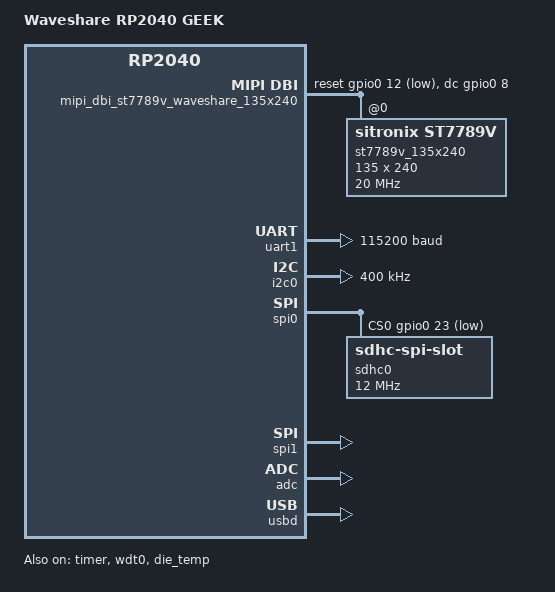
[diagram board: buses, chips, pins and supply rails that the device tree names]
/*
 * Copyright (c) 2021 Yonatan Schachter
 * Copyright (c) 2022 Peter Johanson
 * Copyright (c) 2025 Jonas Berg
 *
 * SPDX-License-Identifier: Apache-2.0
 */

/dts-v1/;

#include <raspberrypi/rpi_pico/rp2040.dtsi>
#include <zephyr/dt-bindings/pinctrl/rpi-pico-rp2040-pinctrl.h>
#include <zephyr/dt-bindings/input/input-event-codes.h>
#include <zephyr/dt-bindings/led/led.h>
#include <zephyr/dt-bindings/mipi_dbi/mipi_dbi.h>
#include "rp2040_geek-pincontrol.dtsi"

/ {
	compatible = "waveshare,rp2040-geek";
	model = "Waveshare RP2040 GEEK";

	chosen {
		zephyr,sram = &sram0;
		zephyr,flash = &flash0;
		zephyr,flash-controller = &ssi;
		zephyr,code-partition = &code_partition;
		zephyr,display = &st7789v_135x240;
		uart,passthrough = &uart1;
	};

	aliases {
		watchdog0 = &wdt0;
	};

	mipi_dbi_st7789v_waveshare_135x240 {
		compatible = "zephyr,mipi-dbi-spi";
		spi-dev = <&spi1>;
		dc-gpios = <&gpio0 8 GPIO_ACTIVE_HIGH>;
		reset-gpios = <&gpio0 12 GPIO_ACTIVE_LOW>;
		write-only;
		#address-cells = <1>;
		#size-cells = <0>;

		st7789v_135x240: st7789v@0 {
			/* Values inspired by
			 * boards/shields/st7789v_generic/st7789v_waveshare_240x240.overlay
			 */
			compatible = "sitronix,st7789v";
			reg = <0>;
			mipi-max-frequency = <20000000>;
			width = <135>;
			height = <240>;
			x-offset = <52>;
			y-offset = <40>;
			vcom = <0x19>;
			gctrl = <0x35>;
			vrhs = <0x12>;
			vdvs = <0x20>;
			mdac = <0x00>;
			gamma = <0x01>;
			colmod = <0x05>;
			lcm = <0x2c>;
			porch-param = [0c 0c 00 33 33];
			cmd2en-param = [5a 69 02 01];
			pwctrl1-param = [a4 a1];
			pvgam-param = [d0 04 0d 11 13 2b 3f 54 4c 18 0d 0b 1f 23];
			nvgam-param = [d0 04 0c 11 13 2c 3f 44 51 2f 1f 1f 20 23];
			ram-param = [00 f0];
			rgb-param = [cd 08 14];
			mipi-mode = "MIPI_DBI_MODE_SPI_4WIRE";
		};
	};
};

&flash0 {
	reg = <0x10000000 DT_SIZE_M(4)>;
	ranges = <0x0 0x10000000 DT_SIZE_M(4)>;

	partitions {
		compatible = "fixed-partitions";
		#address-cells = <1>;
		#size-cells = <1>;

		/* Reserved memory for the second stage bootloader */
		second_stage_bootloader: partition@0 {
			reg = <0x00000000 0x100>;
			label = "second_stage_bootloader";
			read-only;
		};

		/*
		 * Usable flash. Starts at 0x100, after the bootloader. The partition
		 * size is 4 MB minus the 0x100 bytes taken by the bootloader.
		 */
		code_partition: partition@100 {
			reg = <0x100 (DT_SIZE_M(4) - 0x100)>;
			label = "code-partition";
			read-only;
		};
	};
};

&gpio0 {
	status = "okay";
};

&uart1 {
	current-speed = <115200>;
	pinctrl-0 = <&uart1_default>;
	pinctrl-names = "default";
	status = "okay";
};

zephyr_i2c: &i2c0 {
	pinctrl-0 = <&i2c0_default>;
	pinctrl-names = "default";
	clock-frequency = <I2C_BITRATE_FAST>;
	status = "okay";
};

&spi0 {
	pinctrl-0 = <&spi0_default>;
	pinctrl-names = "default";
	cs-gpios = <&gpio0 23 GPIO_ACTIVE_LOW>;
	status = "okay";

	sdhc0: sdhc@0 {
		compatible = "zephyr,sdhc-spi-slot";
		reg = <0>;
		spi-max-frequency = <12000000>;
		status = "okay";

		mmc {
			compatible = "zephyr,sdmmc-disk";
			disk-name = "SD";
			status = "okay";
		};
	};
};

&spi1 {
	pinctrl-0 = <&spi1_default>;
	pinctrl-names = "default";
	cs-gpios = <&gpio0 9 GPIO_ACTIVE_LOW>;
	status = "okay";
};

&adc {
	#address-cells = <1>;
	#size-cells = <0>;
	status = "okay";
};

&timer {
	status = "okay";
};

&wdt0 {
	status = "okay";
};

zephyr_udc0: &usbd {
	status = "okay";
};

&die_temp {
	status = "okay";
};

&vreg {
	regulator-always-on;
	regulator-allowed-modes = <REGULATOR_RPI_PICO_MODE_NORMAL>;
};

&xosc {
	startup-delay-multiplier = <64>;
};

#include <../boards/common/usb/cdc_acm_serial.dtsi>
